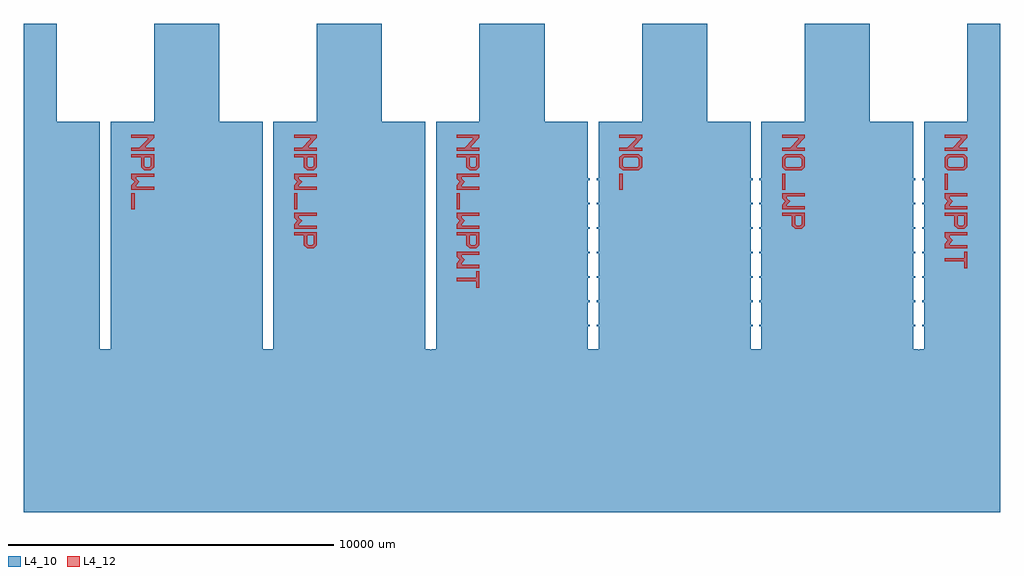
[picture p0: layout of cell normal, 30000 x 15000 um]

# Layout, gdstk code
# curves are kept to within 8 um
from math import pi, radians
import gdstk
lib = gdstk.Library(unit=1e-6, precision=1e-09)
def R(c, l, rs):  # rectangles x0, y0, x1, y1
    for r in rs: c.add(gdstk.rectangle(r[:2], r[2:], *l))
def A(c, l, x, y, w, h, nx, ny, dx, dy):  # array of equal rectangles
    R(c, l, [(x+i*dx, y+j*dy, x+i*dx+w, y+j*dy+h) for i in range(nx) for j in range(ny)])
def P(c, l, *ps):  # polygons
    for p in ps: c.add(gdstk.Polygon(p, *l))
L4_10 = (4, 10)
L4_12 = (4, 12)

text_8 = lib.new_cell('TEXT$8')
R(text_8, L4_12, [(1800,0,2300,100)])
P(text_8, L4_12, [(0,0),(0,700),(100,700),(350,450),(400,450),(400,700),(500,700),(500,0),(400,0),(400,250),(150,500),(100,500),(100,0)],
  [(600,0),(600,700),(1000,700),(1100,600),(1100,400),(1000,300),(700,300),(700,400),(950,400),(1000,450),(1000,550),(950,600),(700,600),(700,0)],
  [(1200,0),(1200,700),(1300,700),(1300,150),(1350,150),(1450,250),(1550,150),(1600,150),(1600,700),(1700,700),(1700,0),(1550,0),(1450,100),(1350,0)])

text_9 = lib.new_cell('TEXT$9')
R(text_9, L4_12, [(1800,0,2300,100)])
P(text_9, L4_12, [(0,0),(0,700),(100,700),(350,450),(400,450),(400,700),(500,700),(500,0),(400,0),(400,250),(150,500),(100,500),(100,0)],
  [(600,0),(600,700),(1000,700),(1100,600),(1100,400),(1000,300),(700,300),(700,400),(950,400),(1000,450),(1000,550),(950,600),(700,600),(700,0)],
  [(1200,0),(1200,700),(1300,700),(1300,150),(1350,150),(1450,250),(1550,150),(1600,150),(1600,700),(1700,700),(1700,0),(1550,0),(1450,100),(1350,0)],
  [(2400,0),(2400,700),(2500,700),(2500,150),(2550,150),(2650,250),(2750,150),(2800,150),(2800,700),(2900,700),(2900,0),(2750,0),(2650,100),(2550,0)],
  [(3000,0),(3000,700),(3400,700),(3500,600),(3500,400),(3400,300),(3100,300),(3100,400),(3350,400),(3400,450),(3400,550),(3350,600),(3100,600),(3100,0)])

text_11 = lib.new_cell('TEXT$11')
R(text_11, L4_12, [(1800,0,2300,100)])
P(text_11, L4_12, [(0,0),(0,700),(100,700),(350,450),(400,450),(400,700),(500,700),(500,0),(400,0),(400,250),(150,500),(100,500),(100,0)],
  [(600,0),(600,700),(1000,700),(1100,600),(1100,400),(1000,300),(700,300),(700,400),(950,400),(1000,450),(1000,550),(950,600),(700,600),(700,0)],
  [(1200,0),(1200,700),(1300,700),(1300,150),(1350,150),(1450,250),(1550,150),(1600,150),(1600,700),(1700,700),(1700,0),(1550,0),(1450,100),(1350,0)],
  [(2400,0),(2400,700),(2500,700),(2500,150),(2550,150),(2650,250),(2750,150),(2800,150),(2800,700),(2900,700),(2900,0),(2750,0),(2650,100),(2550,0)],
  [(3000,0),(3000,700),(3400,700),(3500,600),(3500,400),(3400,300),(3100,300),(3100,400),(3350,400),(3400,450),(3400,550),(3350,600),(3100,600),(3100,0)],
  [(3600,0),(3600,700),(3700,700),(3700,150),(3750,150),(3850,250),(3950,150),(4000,150),(4000,700),(4100,700),(4100,0),(3950,0),(3850,100),(3750,0)],
  [(4400,0),(4400,600),(4200,600),(4200,700),(4700,700),(4700,600),(4500,600),(4500,0)])

text_12 = lib.new_cell('TEXT$12')
R(text_12, L4_12, [(1200,0,1700,100)])
P(text_12, L4_12, [(0,0),(0,700),(100,700),(350,450),(400,450),(400,700),(500,700),(500,0),(400,0),(400,250),(150,500),(100,500),(100,0)],
  [(700,0),(600,100),(600,600),(700,700),(1000,700),(1100,600),(1100,350),(1000,350),(1000,550),(950,600),(750,600),(700,550),(700,150),(750,100),(950,100),(1000,150),(1000,350),(1100,350),(1100,100),(1000,0)])

text_14 = lib.new_cell('TEXT$14')
R(text_14, L4_12, [(1200,0,1700,100)])
P(text_14, L4_12, [(0,0),(0,700),(100,700),(350,450),(400,450),(400,700),(500,700),(500,0),(400,0),(400,250),(150,500),(100,500),(100,0)],
  [(700,0),(600,100),(600,600),(700,700),(1000,700),(1100,600),(1100,350),(1000,350),(1000,550),(950,600),(750,600),(700,550),(700,150),(750,100),(950,100),(1000,150),(1000,350),(1100,350),(1100,100),(1000,0)],
  [(1800,0),(1800,700),(1900,700),(1900,150),(1950,150),(2050,250),(2150,150),(2200,150),(2200,700),(2300,700),(2300,0),(2150,0),(2050,100),(1950,0)],
  [(2400,0),(2400,700),(2800,700),(2900,600),(2900,400),(2800,300),(2500,300),(2500,400),(2750,400),(2800,450),(2800,550),(2750,600),(2500,600),(2500,0)])

text_16 = lib.new_cell('TEXT$16')
R(text_16, L4_12, [(1200,0,1700,100)])
P(text_16, L4_12, [(0,0),(0,700),(100,700),(350,450),(400,450),(400,700),(500,700),(500,0),(400,0),(400,250),(150,500),(100,500),(100,0)],
  [(700,0),(600,100),(600,600),(700,700),(1000,700),(1100,600),(1100,350),(1000,350),(1000,550),(950,600),(750,600),(700,550),(700,150),(750,100),(950,100),(1000,150),(1000,350),(1100,350),(1100,100),(1000,0)],
  [(1800,0),(1800,700),(1900,700),(1900,150),(1950,150),(2050,250),(2150,150),(2200,150),(2200,700),(2300,700),(2300,0),(2150,0),(2050,100),(1950,0)],
  [(2400,0),(2400,700),(2800,700),(2900,600),(2900,400),(2800,300),(2500,300),(2500,400),(2750,400),(2800,450),(2800,550),(2750,600),(2500,600),(2500,0)],
  [(3000,0),(3000,700),(3100,700),(3100,150),(3150,150),(3250,250),(3350,150),(3400,150),(3400,700),(3500,700),(3500,0),(3350,0),(3250,100),(3150,0)],
  [(3800,0),(3800,600),(3600,600),(3600,700),(4100,700),(4100,600),(3900,600),(3900,0)])

normal = lib.new_cell('normal')
A(normal, L4_10, 12335, -9298, 60, 50, 1, 7, 0, 750)
A(normal, L4_10, 12605, -9298, 60, 50, 1, 7, 0, 750)
A(normal, L4_10, 17335, -9298, 60, 50, 1, 7, 0, 750)
A(normal, L4_10, 17605, -9298, 60, 50, 1, 7, 0, 750)
R(normal, L4_10, [(-5000,-15000,-4000,0), (-4000,-15000,-1000,-9998), (-1000,-15000,0,0), (0,-15000,1000,0), (1000,-15000,4000,-10000), (4000,-15000,5000,0), (10000,-15000,11000,0), (11000,-15000,14000,-9998), (14000,-15000,15000,0), (15000,-15000,16000,0), (16000,-15000,19000,-10000), (19000,-15000,20000,0), (1000,-10000,2420,-9998), (2580,-10000,4000,-9998), (16000,-10000,17420,-9998), (17580,-10000,19000,-9998), (-4000,-9998,-2669,-2998), (-2331,-9998,-1000,-2998), (1000,-9998,2331,-2998), (2669,-9998,4000,-2998), (11000,-9998,12335,-2998), (12665,-9998,14000,-2998), (16000,-9998,17335,-2998), (17665,-9998,19000,-2998)])
P(normal, L4_10, [(5000,-15000),(5000,0),(6000,0),(6000,-2998),(7331,-2998),(7331,-9998),(7470,-10000),(7470,-10010.58),(7669,-9998),(7669,-2998),(9000,-2998),(9000,0),(10000,0),(10000,-15000)],
  [(20000,-15000),(20000,0),(21000,0),(21000,-2998),(22335,-2998),(22335,-4748),(22395,-4748),(22395,-4798),(22335,-4798),(22335,-5498),(22395,-5498),(22395,-5548),(22335,-5548),(22335,-6248),(22395,-6248),(22395,-6298),(22335,-6298),(22335,-6998),(22395,-6998),(22395,-7048),(22335,-7048),(22335,-7748),(22395,-7748),(22395,-7798),(22335,-7798),(22335,-8498),(22395,-8498),(22395,-8548),(22335,-8548),(22335,-9248),(22395,-9248),(22395,-9298),(22335,-9298),(22335,-9998),(22530,-10010.58),(22530,-10000),(22665,-9998),(22665,-9298),(22605,-9298),(22605,-9248),(22665,-9248),(22665,-8548),(22605,-8548),(22605,-8498),(22665,-8498),(22665,-7798),(22605,-7798),(22605,-7748),(22665,-7748),(22665,-7048),(22605,-7048),(22605,-6998),(22665,-6998),(22665,-6298),(22605,-6298),(22605,-6248),(22665,-6248),(22665,-5548),(22605,-5548),(22605,-5498),(22665,-5498),(22665,-4798),(22605,-4798),(22605,-4748),(22665,-4748),(22665,-2998),(24000,-2998),(24000,0),(25000,0),(25000,-15000)])
normal.add(gdstk.Reference(text_8, (-1700,-3400), rotation=3*pi/2))
normal.add(gdstk.Reference(text_9, (3300,-3400), rotation=3*pi/2))
normal.add(gdstk.Reference(text_11, (8300,-3400), rotation=3*pi/2))
normal.add(gdstk.Reference(text_12, (13300,-3400), rotation=3*pi/2))
normal.add(gdstk.Reference(text_14, (18300,-3400), rotation=3*pi/2))
normal.add(gdstk.Reference(text_16, (23300,-3400), rotation=3*pi/2))

lib.write_gds('normal.gds')
